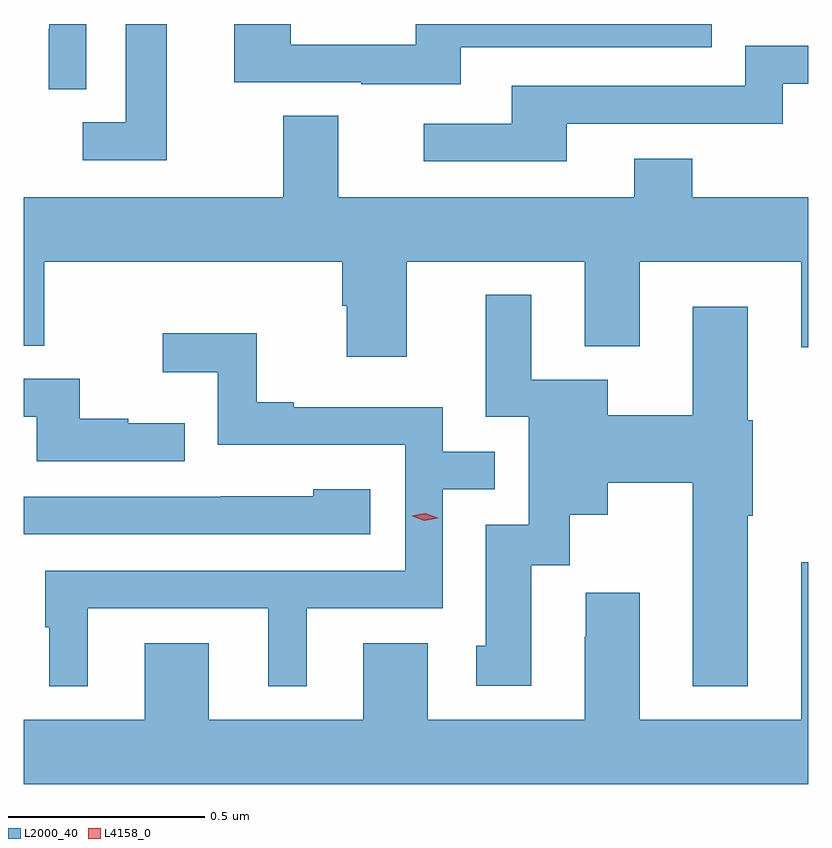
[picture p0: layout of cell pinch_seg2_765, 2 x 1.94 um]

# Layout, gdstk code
import gdstk
lib = gdstk.Library(unit=1e-6, precision=1e-09)
def P(c, l, *ps):  # polygons
    for p in ps: c.add(gdstk.Polygon(p, *l))
L2000_40 = (2000, 40)
L4158_0 = (4158, 0)

pinch_seg2_765 = lib.new_cell('pinch_seg2_765')
P(pinch_seg2_765, L2000_40, [(869.005,654.902),(868.901,654.902),(868.901,654.651),(868.791,654.651),(868.791,654.555),(869.005,654.555)],
  [(869.755,654.843),(870.395,654.843),(870.395,654.902),(869.64,654.902),(869.64,654.849),(869.322,654.849),(869.322,654.902),(869.177,654.902),(869.177,654.753),(869.501,654.753),(869.501,654.749),(869.755,654.749)],
  [(868.8,654.902),(868.706,654.902),(868.706,654.89),(868.704,654.89),(868.704,654.736),(868.8,654.736)],
  [(870.025,654.648),(870.576,654.648),(870.576,654.75),(870.641,654.75),(870.641,654.847),(870.48,654.847),(870.48,654.744),(869.885,654.744),(869.885,654.648),(869.661,654.648),(869.661,654.552),(870.025,654.552)],
  [(869.617,654.296),(870.071,654.296),(870.071,654.08),(870.211,654.08),(870.211,654.296),(870.623,654.296),(870.623,654.078),(870.641,654.078),(870.641,654.46),(870.345,654.46),(870.345,654.559),(870.197,654.559),(870.197,654.46),(869.443,654.46),(869.443,654.668),(869.303,654.668),(869.303,654.46),(868.641,654.46),(868.641,654.082),(868.693,654.082),(868.693,654.296),(869.453,654.296),(869.453,654.183),(869.465,654.183),(869.465,654.054),(869.617,654.054)],
  [(870.487,653.648),(870.5,653.648),(870.5,653.892),(870.487,653.892),(870.487,654.181),(870.347,654.181),(870.347,653.904),(870.13,653.904),(870.13,653.995),(869.935,653.995),(869.935,654.211),(869.819,654.211),(869.819,653.901),(869.928,653.901),(869.928,653.625),(869.819,653.625),(869.819,653.316),(869.795,653.316),(869.795,653.214),(869.935,653.214),(869.935,653.522),(870.033,653.522),(870.033,653.651),(870.13,653.651),(870.13,653.732),(870.347,653.732),(870.347,653.213),(870.487,653.213)],
  [(868.804,653.412),(869.264,653.412),(869.264,653.213),(869.362,653.213),(869.362,653.412),(869.709,653.412),(869.709,653.715),(869.842,653.715),(869.842,653.811),(869.709,653.811),(869.709,653.925),(869.329,653.925),(869.329,653.938),(869.235,653.938),(869.235,654.113),(868.995,654.113),(868.995,654.014),(869.136,654.014),(869.136,653.829),(869.613,653.829),(869.613,653.508),(868.695,653.508),(868.695,653.364),(868.706,653.364),(868.706,653.213),(868.804,653.213)],
  [(869.051,653.884),(868.907,653.884),(868.907,653.896),(868.784,653.896),(868.784,653.997),(868.641,653.997),(868.641,653.9),(868.674,653.9),(868.674,653.787),(869.051,653.787)],
  [(869.524,653.716),(869.379,653.716),(869.379,653.698),(869.143,653.698),(869.143,653.697),(868.641,653.697),(868.641,653.601),(869.524,653.601)],
  [(870.641,653.53),(870.623,653.53),(870.623,653.128),(870.211,653.128),(870.211,653.452),(870.074,653.452),(870.074,653.339),(870.071,653.339),(870.071,653.128),(869.671,653.128),(869.671,653.323),(869.507,653.323),(869.507,653.128),(869.113,653.128),(869.113,653.323),(868.949,653.323),(868.949,653.128),(868.641,653.128),(868.641,652.964),(870.641,652.964)])
P(pinch_seg2_765, L4158_0, [(869.662,653.635),(869.629,653.648),(869.628,653.648),(869.629,653.648),(869.664,653.655),(869.697,653.643),(869.698,653.642),(869.697,653.642)])

lib.write_gds('pinch_seg2_765.gds')
